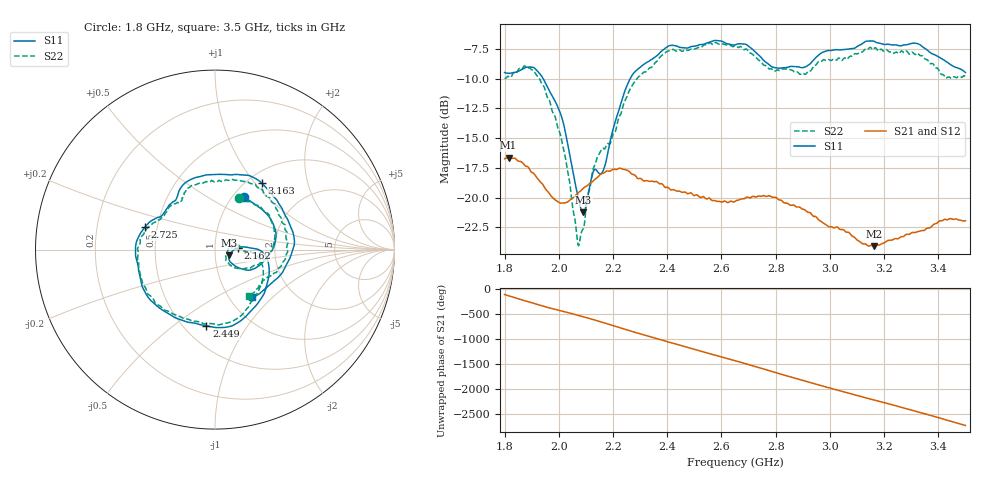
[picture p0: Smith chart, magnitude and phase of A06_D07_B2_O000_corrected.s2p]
! Created with skrf 1.9.0 (http://scikit-rf.org).
# Hz S RI R 50.0
!freq ReS11 ImS11 ReS21 ImS21 ReS12 ImS12 ReS22 ImS22
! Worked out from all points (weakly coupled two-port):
!   1601 points, 1.8 GHz to 3.5 GHz, reference 50 ohm
!   highest |S21| = -16.64 dB at 1.815 GHz (marker M1); lowest = -24.1 dB at 3.164 GHz (marker M2)
!   lowest |S11| = -21.3 dB at 2.09 GHz (marker M3), VSWR 1.19, Z = 58.6 - j3.88 ohm
!   |S11| at or under -10 dB: 1.942 GHz to 2.263 GHz (320.9 MHz wide, 15.3 % of centre)
!   |S22| runs from -24.1 to -7.0 dB; largest |S21 - S12| = 0.0029
!   S11 on the Smith chart (normalised r, x): 1.8 GHz: 1.12, +0.75; 2.162 GHz: 1.29, +0.02; 2.449 GHz: 0.64, -0.66; 2.725 GHz: 0.43, +0.13; 3.163 GHz: 1.16, +1.08; 3.5 GHz: 1.28, -0.76
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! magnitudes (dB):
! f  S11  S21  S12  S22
! 1.8 GHz  -9.5  -16.7  -16.7  -10.0
! 1.815 GHz  -9.6  -16.6  -16.6  -9.8
! 1.879 GHz  -9.1  -17.4  -17.4  -9.0
! 1.942 GHz  -10.0  -19.0  -19.0  -10.6
! 2.011 GHz  -13.3  -20.5  -20.5  -15.3
! 2.068 GHz  -19.6  -19.7  -19.7  -23.5
! 2.084 GHz  -21.0  -19.4  -19.3  -22.9
! 2.09 GHz  -21.3  -19.2  -19.3  -22.6
! 2.128 GHz  -17.8  -18.6  -18.6  -17.5
! 2.162 GHz  -17.8  -18.0  -17.9  -15.9
! 2.259 GHz  -10.2  -17.8  -17.8  -11.1
! 2.367 GHz  -8.0  -18.8  -18.7  -8.4
! 2.449 GHz  -7.4  -19.5  -19.5  -7.6
! 2.65 GHz  -7.2  -20.3  -20.3  -7.2
! 2.725 GHz  -7.8  -20.0  -20.0  -8.2
! 2.799 GHz  -9.1  -20.0  -20.0  -9.4
! 2.934 GHz  -8.6  -21.4  -21.4  -9.2
! 3.163 GHz  -6.9  -24.1  -24.1  -7.5
! 3.164 GHz  -6.9  -24.1  -24.1  -7.4
! 3.217 GHz  -7.1  -23.6  -23.6  -7.7
! 3.325 GHz  -7.1  -22.9  -22.8  -7.9
! 3.5 GHz  -9.5  -21.9  -21.9  -9.8
